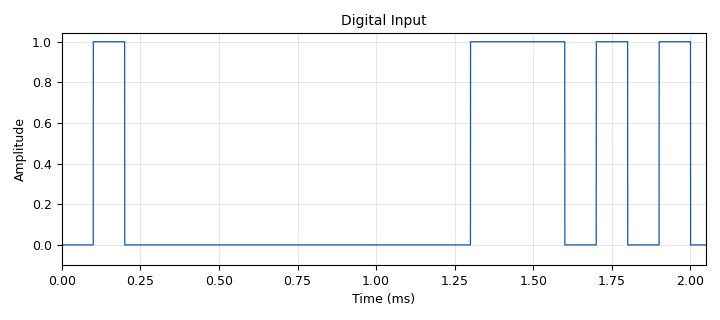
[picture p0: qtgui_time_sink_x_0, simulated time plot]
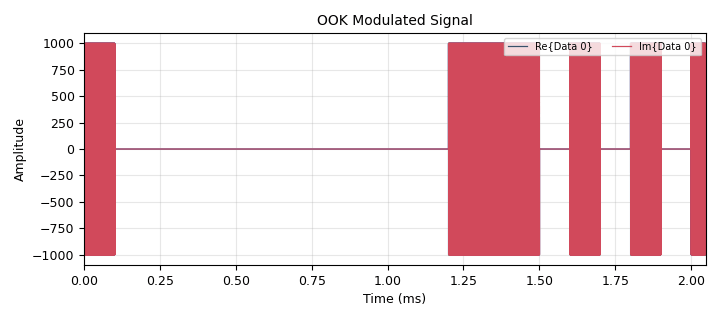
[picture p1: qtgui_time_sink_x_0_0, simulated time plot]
options:
  parameters:
    author: parallels
    generate_options: qt_gui
    id: ook_tx
    output_language: python
    title: OOK Transmitter
  states: {}

blocks:
- name: center_freq
  id: variable
  parameters:
    value: 313e6
  states: {}
- name: freq
  id: variable_qtgui_entry
  parameters:
    type: real
    value: 315e6
  states: {}
- name: gain
  id: variable
  parameters:
    value: 1e3
  states: {}
- name: samp_rate
  id: variable
  parameters:
    value: 8e6
  states: {}
- name: analog_const_source_x_0
  id: analog_const_source_x
  parameters:
    const: '0'
    type: float
  states: {}
- name: analog_sig_source_x_0
  id: analog_sig_source_x
  parameters:
    amp: gain
    freq: freq-center_freq
    offset: '0'
    phase: '0'
    samp_rate: samp_rate
    type: complex
    waveform: analog.GR_COS_WAVE
  states: {}
- name: blocks_float_to_complex_0
  id: blocks_float_to_complex
  parameters: {}
  states: {}
- name: blocks_multiply_xx_0
  id: blocks_multiply_xx
  parameters:
    type: complex
  states: {}
- name: blocks_repeat_0
  id: blocks_repeat
  parameters:
    interp: '800'
    type: float
  states: {}
- name: blocks_throttle_0
  id: blocks_throttle
  parameters:
    samples_per_second: samp_rate
    type: complex
  states: {}
- name: blocks_vector_source_x_0
  id: blocks_vector_source_x
  parameters:
    repeat: 'True'
    type: float
    vector: (0, 1, 1, 1, 0, 1, 0, 1, 0, 1, 0, 0, 0, 0, 0, 0, 0, 0, 0, 0)
  states: {}
- name: qtgui_time_sink_x_0
  id: qtgui_time_sink_x
  parameters:
    name: '"Digital Input"'
    size: '16384'
    srate: samp_rate
    tr_delay: '100e-6'
    tr_level: '0.5'
    tr_mode: qtgui.TRIG_MODE_AUTO
    type: float
    ymin: '-0.1'
  states: {}
- name: qtgui_time_sink_x_0_0
  id: qtgui_time_sink_x
  parameters:
    name: '"OOK Modulated Signal"'
    size: '16384'
    srate: samp_rate
    tr_delay: '100e-6'
    tr_level: '500'
    tr_mode: qtgui.TRIG_MODE_AUTO
    type: complex
    ymax: '1100'
    ymin: '-1100'
  states: {}

connections:
- [analog_const_source_x_0, '0', blocks_float_to_complex_0, '1']
- [analog_sig_source_x_0, '0', blocks_throttle_0, '0']
- [blocks_float_to_complex_0, '0', blocks_multiply_xx_0, '0']
- [blocks_multiply_xx_0, '0', qtgui_time_sink_x_0_0, '0']
- [blocks_repeat_0, '0', blocks_float_to_complex_0, '0']
- [blocks_repeat_0, '0', qtgui_time_sink_x_0, '0']
- [blocks_throttle_0, '0', blocks_multiply_xx_0, '1']
- [blocks_vector_source_x_0, '0', blocks_repeat_0, '0']

metadata:
  file_format: 1
